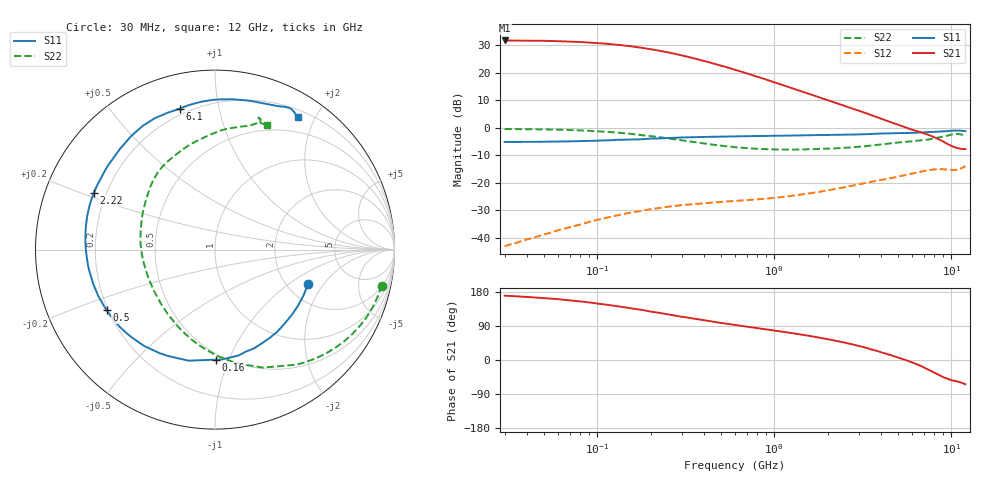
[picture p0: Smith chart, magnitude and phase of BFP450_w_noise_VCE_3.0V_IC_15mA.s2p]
! Infineon Technologies  Discrete & RF Semiconductors
! BFP450
! VCE =  3.0 V,  IC =  15 mA
! Common Emitter S-Parameters:  Nov 2015
# GHz  S  MA  R  50
!  f  S11  S21  S12  S22
! GHz  MAG  ANG  MAG  ANG  MAG  ANG  MAG  ANG
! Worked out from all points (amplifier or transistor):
!   239 points, 30 MHz to 12 GHz, reference 50 ohm
!   highest |S21| = 31.7 dB at 30 MHz (marker M1)
!   |S21| within 3 dB of that: start of sweep to 192.5 MHz
!   unconditionally stable (mu >= 1): 1.84 GHz to end of sweep
!   at 300 MHz: K = 0.24, MSG = 27.2 dB, |S12| = -28.1 dB
!   at 1.88 GHz: K = 1.01, MAG = 16.2 dB, |S12| = -23.0 dB
!   at 12 GHz: K = 1.12, MAG = 1.0 dB, |S12| = -14.0 dB
!   lowest NFmin = 1.04 dB at 450 MHz
!   S11 on the Smith chart (normalised r, x): 30 MHz: 2.58, -1.43; 160 MHz: 0.46, -0.90; 500 MHz: 0.19, -0.25; 2.22 GHz: 0.15, +0.22; 6.1 GHz: 0.17, +0.77; 12 GHz: 0.29, +1.77
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0.03  0.5528 -20.3  38.47 169.7  0.0071 78.2  0.9507 -12.2
0.05  0.5585 -34.3  37.88 163.3  0.0115 74.8  0.9352 -20.2
0.06  0.5618 -40.6  37.32 160.5  0.0138 72.4  0.9248 -24.1
0.085  0.5757 -55.4  35.65 153.4  0.0185 66.8  0.8899 -33.5
0.105  0.5873 -66.0  34.12 148.0  0.022 62.9  0.8585 -40.5
0.12  0.594 -73.2  32.92 144.2  0.0244 60.0  0.8344 -45.5
0.15  0.6131 -86.2  30.59 137.4  0.0284 55.0  0.7856 -54.7
0.16  0.6132 -89.7  29.75 135.7  0.0293 53.5  0.7672 -57.1
0.2  0.6362 -103.4  26.71 127.8  0.0333 48.2  0.7089 -68.0
0.24  0.6475 -113.6  24.05 122.0  0.0362 44.1  0.6554 -76.8
0.3  0.6665 -126.3  20.61 114.1  0.0395 39.6  0.5922 -88.8
0.36  0.6767 -135.6  17.9 108.4  0.0416 36.5  0.5441 -98.5
0.4  0.6832 -140.8  16.38 104.7  0.0428 34.9  0.5191 -104.3
0.5  0.6925 -150.8  13.41 97.8  0.0451 32.4  0.4732 -116.5
0.6  0.6998 -158.2  11.28 92.3  0.0469 31.2  0.445 -126.3
0.8  0.7087 -168.8  8.452 84.0  0.0502 30.5  0.4159 -141.3
1  0.7158 -176.4  6.688 77.6  0.0535 30.9  0.405 -152.4
1.64  0.7341 166.6  3.947 62.3  0.0656 32.1  0.4082 -176.2
2.22  0.7455 154.8  2.837 50.8  0.0776 31.2  0.4231 168.8
4.5  0.7984 120.2  1.274 13.3  0.121 17.4  0.5213 130.8
6.1  0.8099 104.0  0.909 -7.5  0.1486 5.5  0.5718 112.5
12  0.8691 58.0  0.411 -63.9  0.2006 -39.0  0.7532 67.3
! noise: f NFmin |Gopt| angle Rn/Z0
0.45  1.04  0.28  177  0.05
0.9  1.09  0.34  174  0.07
1.9  1.26  0.48  -168  0.06
2.4  1.42  0.51  -157  0.08
